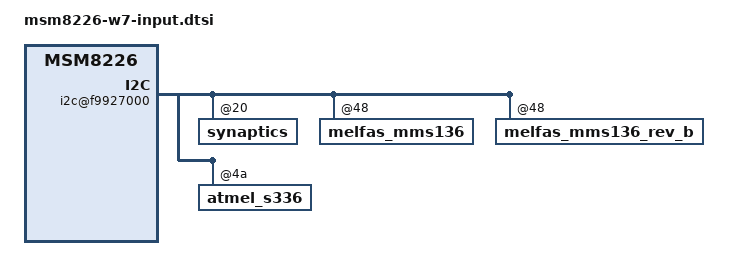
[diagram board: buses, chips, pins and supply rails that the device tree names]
/* Copyright (c) 2013, LGE Electronics. All rights reserved.
 *
 * This program is free software; you can redistribute it and/or modify
 * it under the terms of the GNU General Public License version 2 and
 * only version 2 as published by the Free Software Foundation.
 *
 * This program is distributed in the hope that it will be useful,
 * but WITHOUT ANY WARRANTY; without even the implied warranty of
 * MERCHANTABILITY or FITNESS FOR A PARTICULAR PURPOSE.  See the
 * GNU General Public License for more details.
 */

&soc {
	i2c@f9927000 { /* BLSP1 QUP5 */
		synaptics@20 {
			//synaptics,fw-image-name = "synaptics/PR1237618-DS4.3.5.0.16.img";
			revision = "rev_0";
			status = "ok";
		};

		melfas_mms136@48 {
			melfas,product = "E2A47B";
			melfas,fw-image-name = "melfas/w7_tmo_us/w7_tmo_us_rev_a_v06.mfsb";
			melfas,panel-spec-name = "melfas/w7_tmo_us/w7_tmo_us_limit.txt";
			revision = "rev_a";
			status = "ok";
			melfas,button-map = <158 139>;
		};

		melfas_mms136_rev_b@48 {
			melfas,product = "E2A47B";
			melfas,button-map = <158 139>;
			melfas,fw-image-name = "melfas/w7_tmo_us/w7_tmo_us_rev_b_v03.mfsb";
			melfas,panel-spec-name = "melfas/w7_tmo_us/w7_tmo_us_limit.txt";
			revision = "rev_b...rev_d";
			status ="ok";
        };

		atmel_s336@4a {
			revision = "rev_e...";
			status = "ok";

			atmel,fw_name = "atmel/E2A47P2_1_05.fw";
			atmel,panel_check = <0>;
		};

		lge_touch@48 {
			lge,product = "E2A47B";
			lge,fw-image-name = "melfas/w7_tmo_us/w7_tmo_us_rev_a_v06.mfsb";
			melfas,panel-spec-name = "melfas/w7_tmo_us/w7_tmo_us_limit.txt";
			revision = "rev_a";
			status = "disable";
			vdd_type0 = <2>;
			vdd_type1 = <2>;
		};

		lge_touch_rev_b@48 {
			lge,product = "E2A47A";
			interrupts = <17 0x2>;
			lge,fw_image = "melfas/w7_tmo_us/w7_tmo_us_rev_b_v09.mfsb";
			lge,panel_spec = "melfas/w7_tmo_us/w7_tmo_us_limit.txt";
			revision = "rev_b...";
			status = "disable";
			vdd_type0 = <2>;
			vdd_type1 = <2>;
		};
	};

};
